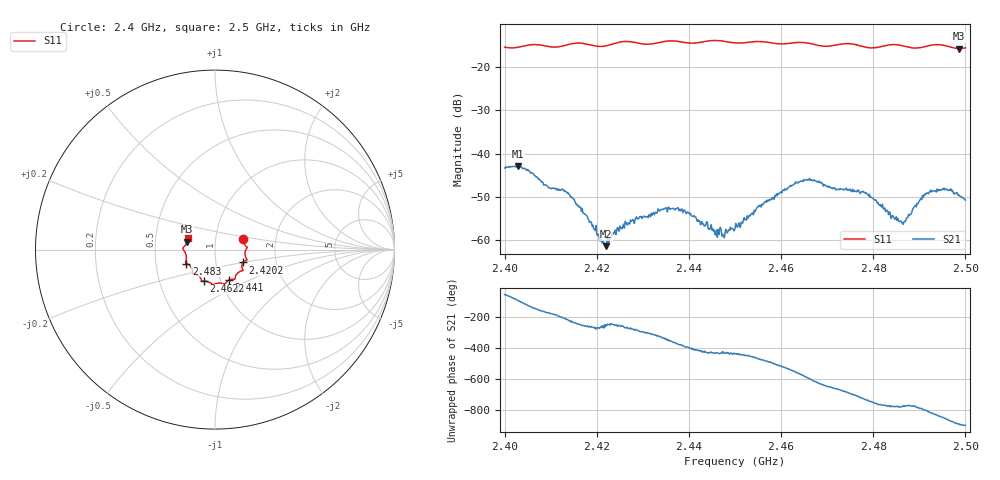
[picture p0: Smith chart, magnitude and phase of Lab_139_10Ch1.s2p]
# Hz S RI R 50
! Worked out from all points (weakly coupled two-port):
!   601 points, 2.4 GHz to 2.5 GHz, reference 50 ohm
!   highest |S21| = -42.92 dB at 2.4028 GHz (marker M1); lowest = -61.3 dB at 2.422 GHz (marker M2)
!   lowest |S11| = -15.8 dB at 2.4987 GHz (marker M3), VSWR 1.39, Z = 36.4 + j3.28 ohm
!   |S11| at or under -10 dB: start of sweep to end of sweep
!   S12 and S22 are empty: the file has one direction only
!   S11 on the Smith chart (normalised r, x): 2.4 GHz: 1.36, +0.17; 2.4202 GHz: 1.35, -0.20; 2.441 GHz: 1.09, -0.39; 2.4622 GHz: 0.83, -0.30; 2.483 GHz: 0.72, -0.12; 2.5 GHz: 0.73, +0.09
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2.4e9  0.1566 0.0606  0.004 -0.00553  0 0  0 0
2.402833e9  0.1651 0.0281  -0.000177 -0.00714  0 0  0 0
2.413e9  0.1707 -0.041  -0.00321 0.00175  0 0  0 0
2.416667e9  0.1776 -0.0582  -0.000637 0.00208  0 0  0 0
2.420167e9  0.1563 -0.0719  -1.41e-05 0.00115  0 0  0 0
2.422e9  0.1495 -0.0892  -0.000306 0.000803  0 0  0 0
2.426333e9  0.157 -0.1165  3.39e-05 0.00161  0 0  0 0
2.433333e9  0.1129 -0.1521  0.00186 0.00137  0 0  0 0
2.437167e9  0.1079 -0.1654  0.0023 -0.000365  0 0  0 0
2.441e9  0.0768 -0.1705  0.00127 -0.00141  0 0  0 0
2.446e9  0.0517 -0.1939  0.000416 -0.00126  0 0  0 0
2.45e9  0.0269 -0.1862  0.000305 -0.00133  0 0  0 0
2.462167e9  -0.063 -0.1763  -0.00421 0.000332  0 0  0 0
2.466667e9  -0.0764 -0.1669  -0.00186 0.00464  0 0  0 0
2.478e9  -0.1262 -0.1138  0.00351 -0.00066  0 0  0 0
2.483e9  -0.159 -0.078  0.00116 -0.00191  0 0  0 0
2.483333e9  -0.1606 -0.0773  0.00112 -0.00164  0 0  0 0
2.4865e9  -0.1616 -0.064  0.000886 -0.00125  0 0  0 0
2.492e9  -0.1745 -0.00276  -0.000285 -0.00344  0 0  0 0
2.4955e9  -0.1751 0.0131  -0.00271 -0.00269  0 0  0 0
2.498667e9  -0.1559 0.044  -0.00329 -0.000159  0 0  0 0
2.5e9  -0.1529 0.0627  -0.00292 0.000151  0 0  0 0
